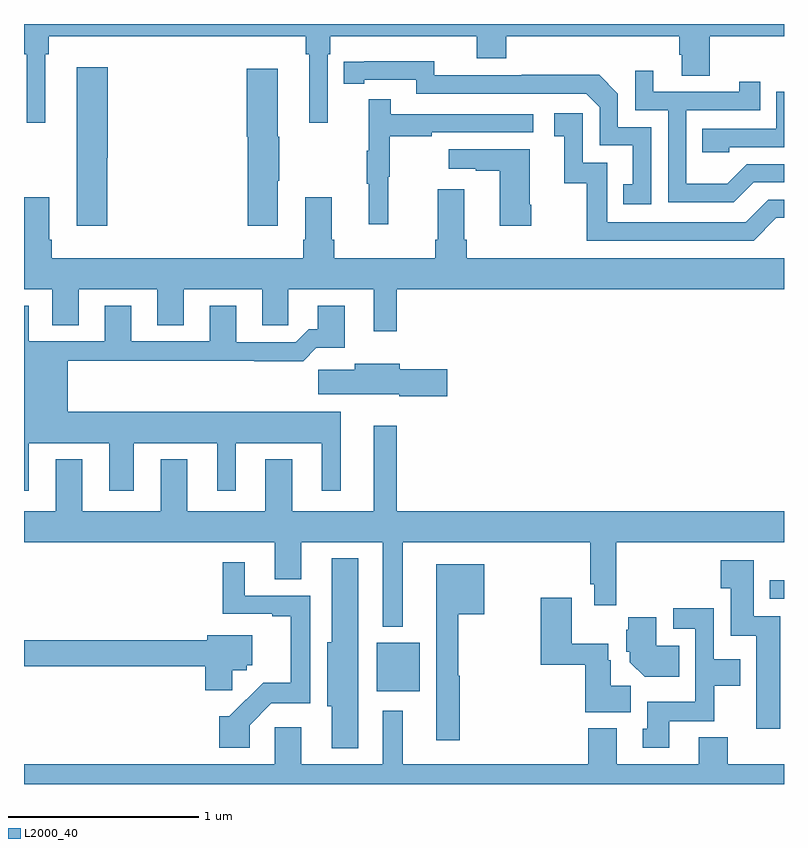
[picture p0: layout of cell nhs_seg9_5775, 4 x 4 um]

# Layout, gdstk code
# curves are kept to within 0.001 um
import gdstk
lib = gdstk.Library(unit=1e-6, precision=1e-09)
def R(c, l, rs):  # rectangles x0, y0, x1, y1
    for r in rs: c.add(gdstk.rectangle(r[:2], r[2:], *l))
def P(c, l, *ps):  # polygons
    for p in ps: c.add(gdstk.Polygon(p, *l))
L2000_40 = (2000, 40)

nhs_seg9_5775 = lib.new_cell('nhs_seg9_5775')
R(nhs_seg9_5775, L2000_40, [(448.856,1176.989,449.083,1177.243), (450.926,1177.476,451,1177.573)])
P(nhs_seg9_5775, L2000_40, [(447.112,1180.34),(447.131,1180.34),(447.131,1180.436),(448.483,1180.436),(448.483,1180.34),(448.502,1180.34),(448.502,1179.981),(448.599,1179.981),(448.599,1180.34),(448.613,1180.34),(448.613,1180.436),(449.384,1180.436),(449.384,1180.319),(449.537,1180.319),(449.537,1180.436),(450.449,1180.436),(450.449,1180.338),(450.461,1180.338),(450.461,1180.228),(450.609,1180.228),(450.609,1180.436),(451,1180.436),(451,1180.5),(447,1180.5),(447,1180.436),(447.002,1180.436),(447.002,1180.34),(447.015,1180.34),(447.015,1179.981),(447.112,1179.981)],
  [(450.3,1179.957),(450.126,1179.957),(450.126,1180.134),(450.028,1180.232),(449.62,1180.232),(449.62,1180.23),(449.16,1180.23),(449.16,1180.303),(448.684,1180.302),(448.684,1180.186),(448.792,1180.186),(448.792,1180.206),(449.064,1180.206),(449.064,1180.134),(449.958,1180.134),(450.03,1180.062),(450.03,1179.861),(450.203,1179.861),(450.203,1179.657),(450.154,1179.657),(450.154,1179.552),(450.3,1179.552)],
  [(447.437,1179.795),(447.442,1179.795),(447.442,1180.273),(447.278,1180.273),(447.278,1179.438),(447.437,1179.438)],
  [(448.336,1179.676),(448.344,1179.676),(448.344,1179.906),(448.336,1179.906),(448.336,1180.264),(448.172,1180.264),(448.172,1179.906),(448.178,1179.906),(448.178,1179.438),(448.336,1179.438)],
  [(450.841,1179.666),(451,1179.666),(451,1179.762),(450.804,1179.762),(450.7,1179.658),(450.486,1179.658),(450.486,1180.047),(450.875,1180.047),(450.875,1180.195),(450.764,1180.195),(450.764,1180.143),(450.313,1180.143),(450.313,1180.255),(450.216,1180.255),(450.216,1180.047),(450.39,1180.047),(450.39,1179.561),(450.736,1179.561)],
  [(450.711,1179.852),(451,1179.852),(451,1180.143),(450.96,1180.143),(450.96,1179.948),(450.571,1179.948),(450.571,1179.825),(450.711,1179.825)],
  [(448.916,1179.696),(448.924,1179.696),(448.924,1179.91),(449.147,1179.91),(449.147,1179.93),(449.68,1179.93),(449.68,1180.026),(448.931,1180.026),(448.931,1180.105),(448.814,1180.105),(448.814,1179.833),(448.803,1179.833),(448.803,1179.659),(448.814,1179.659),(448.814,1179.447),(448.916,1179.447)],
  [(450.96,1179.48),(451,1179.48),(451,1179.576),(450.918,1179.576),(450.798,1179.456),(450.069,1179.456),(450.069,1179.771),(449.94,1179.771),(449.94,1180.03),(449.79,1180.03),(449.79,1179.909),(449.843,1179.909),(449.843,1179.663),(449.961,1179.663),(449.961,1179.36),(450.84,1179.36)],
  [(449.67,1179.55),(449.662,1179.55),(449.662,1179.841),(449.235,1179.841),(449.235,1179.737),(449.378,1179.737),(449.378,1179.727),(449.504,1179.727),(449.504,1179.438),(449.67,1179.438)],
  [(448.963,1179.104),(451,1179.104),(451,1179.268),(449.33,1179.268),(449.33,1179.364),(449.317,1179.364),(449.317,1179.631),(449.177,1179.631),(449.177,1179.364),(449.165,1179.364),(449.165,1179.268),(448.634,1179.268),(448.634,1179.364),(448.621,1179.364),(448.621,1179.589),(448.481,1179.589),(448.481,1179.364),(448.469,1179.364),(448.469,1179.268),(447.146,1179.268),(447.146,1179.364),(447.133,1179.364),(447.133,1179.589),(447,1179.589),(447,1179.104),(447.149,1179.104),(447.149,1178.914),(447.289,1178.914),(447.289,1179.104),(447.701,1179.104),(447.701,1178.914),(447.841,1178.914),(447.841,1179.104),(448.253,1179.104),(448.253,1178.914),(448.392,1178.914),(448.392,1179.104),(448.841,1179.104),(448.841,1178.883),(448.963,1178.883)],
  [(447.025,1178.294),(447.449,1178.294),(447.449,1178.043),(447.577,1178.043),(447.577,1178.294),(448.016,1178.294),(448.016,1178.043),(448.114,1178.043),(448.114,1178.294),(448.568,1178.294),(448.568,1178.043),(448.666,1178.043),(448.666,1178.458),(447.229,1178.458),(447.229,1178.728),(448.213,1178.728),(448.213,1178.726),(448.469,1178.726),(448.538,1178.795),(448.687,1178.795),(448.687,1179.016),(448.547,1179.016),(448.547,1178.893),(448.498,1178.893),(448.431,1178.826),(448.117,1178.826),(448.117,1179.016),(447.977,1179.016),(447.977,1178.829),(447.565,1178.829),(447.565,1179.016),(447.425,1179.016),(447.425,1178.829),(447.025,1178.829),(447.025,1179.016),(447,1179.016),(447,1178.043),(447.025,1178.043)],
  [(449.227,1178.682),(448.978,1178.682),(448.978,1178.713),(448.742,1178.713),(448.742,1178.681),(448.548,1178.681),(448.548,1178.552),(448.974,1178.552),(448.974,1178.54),(449.227,1178.54)],
  [(448.993,1177.772),(449.98,1177.772),(449.98,1177.552),(450,1177.552),(450,1177.44),(450.116,1177.44),(450.116,1177.772),(451,1177.772),(451,1177.936),(448.963,1177.936),(448.963,1178.386),(448.841,1178.386),(448.841,1177.936),(448.411,1177.936),(448.411,1178.209),(448.271,1178.209),(448.271,1177.936),(447.859,1177.936),(447.859,1178.209),(447.719,1178.209),(447.719,1177.936),(447.307,1177.936),(447.307,1178.209),(447.167,1178.209),(447.167,1177.936),(447,1177.936),(447,1177.772),(448.319,1177.772),(448.319,1177.578),(448.459,1177.578),(448.459,1177.772),(448.889,1177.772),(448.889,1177.328),(448.993,1177.328)],
  [(448.759,1177.687),(448.619,1177.687),(448.619,1177.245),(448.595,1177.245),(448.595,1176.909),(448.619,1176.909),(448.619,1176.689),(448.759,1176.689)],
  [(450.979,1177.383),(450.841,1177.383),(450.841,1177.678),(450.668,1177.678),(450.668,1177.531),(450.719,1177.531),(450.719,1177.28),(450.854,1177.28),(450.854,1176.792),(450.979,1176.792)],
  [(448.188,1176.81),(448.302,1176.924),(448.507,1176.924),(448.507,1177.491),(448.162,1177.491),(448.162,1177.666),(448.045,1177.666),(448.045,1177.395),(448.307,1177.395),(448.307,1177.383),(448.403,1177.383),(448.403,1177.034),(448.259,1177.034),(448.081,1176.856),(448.028,1176.856),(448.028,1176.69),(448.188,1176.69)],
  [(449.293,1177.07),(449.285,1177.07),(449.285,1177.394),(449.422,1177.394),(449.422,1177.657),(449.171,1177.657),(449.171,1176.729),(449.293,1176.729)],
  [(450.193,1177.016),(450.088,1177.016),(450.088,1177.152),(450.076,1177.152),(450.076,1177.237),(449.884,1177.237),(449.884,1177.48),(449.719,1177.48),(449.719,1177.127),(449.954,1177.127),(449.954,1176.878),(450.193,1176.878)],
  [(450.397,1176.83),(450.633,1176.83),(450.633,1177.016),(450.769,1177.016),(450.769,1177.156),(450.63,1177.156),(450.63,1177.426),(450.417,1177.426),(450.417,1177.317),(450.534,1177.317),(450.534,1176.934),(450.281,1176.934),(450.281,1176.792),(450.257,1176.792),(450.257,1176.69),(450.397,1176.69)],
  [(450.449,1177.228),(450.328,1177.228),(450.328,1177.378),(450.181,1177.378),(450.181,1177.311),(450.17,1177.311),(450.17,1177.197),(450.188,1177.197),(450.188,1177.142),(450.266,1177.064),(450.449,1177.064)],
  [(448.097,1177.098),(448.173,1177.098),(448.173,1177.125),(448.201,1177.125),(448.201,1177.282),(447.965,1177.282),(447.965,1177.256),(447,1177.256),(447,1177.12),(447.953,1177.12),(447.953,1176.993),(448.097,1176.993)],
  [(451,1176.604),(450.704,1176.604),(450.704,1176.745),(450.551,1176.745),(450.551,1176.604),(450.121,1176.604),(450.121,1176.793),(449.969,1176.793),(449.969,1176.604),(448.993,1176.604),(448.993,1176.886),(448.889,1176.886),(448.889,1176.604),(448.459,1176.604),(448.459,1176.799),(448.32,1176.799),(448.32,1176.604),(447,1176.604),(447,1176.5),(451,1176.5)])

lib.write_gds('nhs_seg9_5775.gds')
